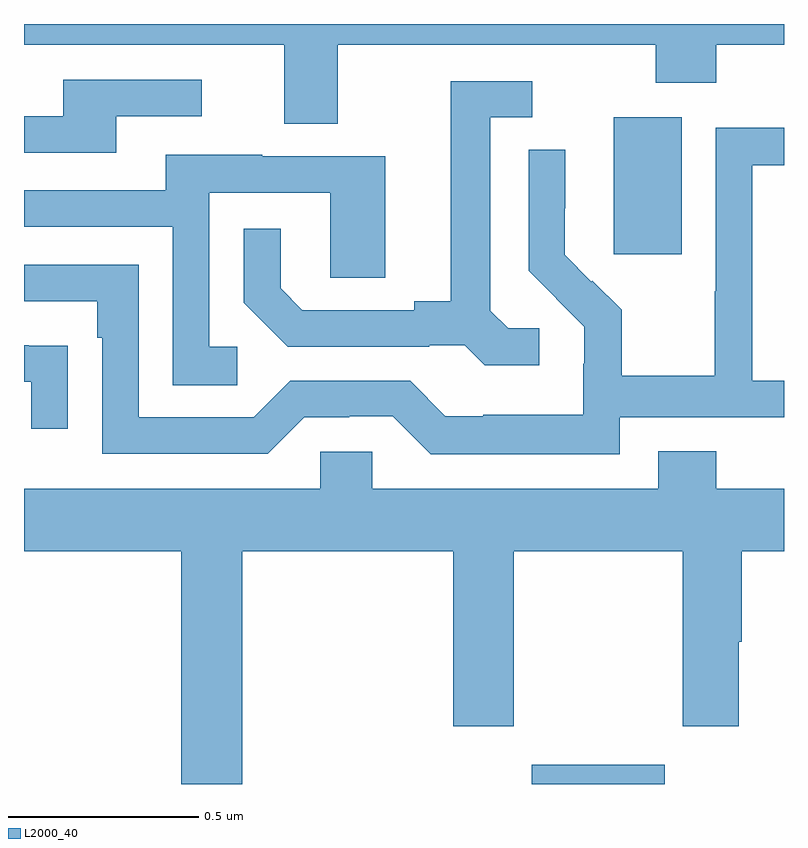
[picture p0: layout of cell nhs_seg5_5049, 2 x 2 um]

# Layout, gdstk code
import gdstk
lib = gdstk.Library(unit=1e-6, precision=1e-09)
def R(c, l, rs):  # rectangles x0, y0, x1, y1
    for r in rs: c.add(gdstk.rectangle(r[:2], r[2:], *l))
def P(c, l, *ps):  # polygons
    for p in ps: c.add(gdstk.Polygon(p, *l))
L2000_40 = (2000, 40)

nhs_seg5_5049 = lib.new_cell('nhs_seg5_5049')
R(nhs_seg5_5049, L2000_40, [(179.336,870.799,179.686,870.85), (179.552,872.193,179.731,872.554)])
P(nhs_seg5_5049, L2000_40, [(178.825,872.744),(179.662,872.744),(179.662,872.645),(179.822,872.645),(179.822,872.744),(180,872.744),(180,872.799),(178,872.799),(178,872.744),(178.685,872.744),(178.685,872.536),(178.825,872.536)],
  [(178.243,872.556),(178.468,872.556),(178.468,872.652),(178.103,872.652),(178.103,872.556),(178,872.556),(178,872.46),(178.243,872.46)],
  [(179.356,871.998),(179.274,871.998),(179.227,872.045),(179.227,872.553),(179.338,872.553),(179.338,872.649),(179.123,872.649),(179.123,872.069),(179.027,872.069),(179.027,872.046),(178.732,872.046),(178.675,872.103),(178.675,872.26),(178.578,872.26),(178.578,872.066),(178.694,871.95),(179.066,871.95),(179.066,871.953),(179.16,871.953),(179.212,871.901),(179.356,871.901)],
  [(179.568,871.764),(180,871.764),(180,871.86),(179.916,871.86),(179.916,872.427),(180,872.427),(180,872.526),(179.82,872.526),(179.82,872.096),(179.818,872.096),(179.818,871.873),(179.573,871.873),(179.573,872.047),(179.496,872.124),(179.493,872.121),(179.423,872.192),(179.423,872.314),(179.424,872.314),(179.424,872.468),(179.328,872.468),(179.328,872.15),(179.401,872.077),(179.4,872.076),(179.474,872.002),(179.474,871.905),(179.472,871.905),(179.472,871.771),(179.209,871.771),(179.209,871.767),(179.109,871.767),(179.016,871.86),(178.701,871.86),(178.605,871.764),(178.302,871.764),(178.302,872.166),(178,872.166),(178,872.07),(178.193,872.07),(178.193,871.973),(178.206,871.973),(178.206,871.668),(178.641,871.668),(178.737,871.764),(178.856,871.764),(178.856,871.767),(178.971,871.767),(179.071,871.667),(179.568,871.667)],
  [(178.561,871.95),(178.488,871.95),(178.488,872.355),(178.806,872.355),(178.806,872.131),(178.951,872.131),(178.951,872.451),(178.627,872.451),(178.627,872.455),(178.373,872.455),(178.373,872.361),(178,872.361),(178,872.265),(178.392,872.265),(178.392,871.849),(178.561,871.849)],
  [(178.115,871.952),(178.013,871.952),(178.013,871.953),(178,871.953),(178,871.857),(178.019,871.857),(178.019,871.734),(178.115,871.734)],
  [(178.574,871.412),(179.129,871.412),(179.129,870.951),(179.289,870.951),(179.289,871.412),(179.734,871.412),(179.734,870.951),(179.881,870.951),(179.881,871.174),(179.889,871.174),(179.889,871.412),(180,871.412),(180,871.576),(179.822,871.576),(179.822,871.675),(179.669,871.675),(179.669,871.576),(178.917,871.576),(178.917,871.674),(178.779,871.674),(178.779,871.576),(178,871.576),(178,871.412),(178.414,871.412),(178.414,870.799),(178.574,870.799)])

lib.write_gds('nhs_seg5_5049.gds')
